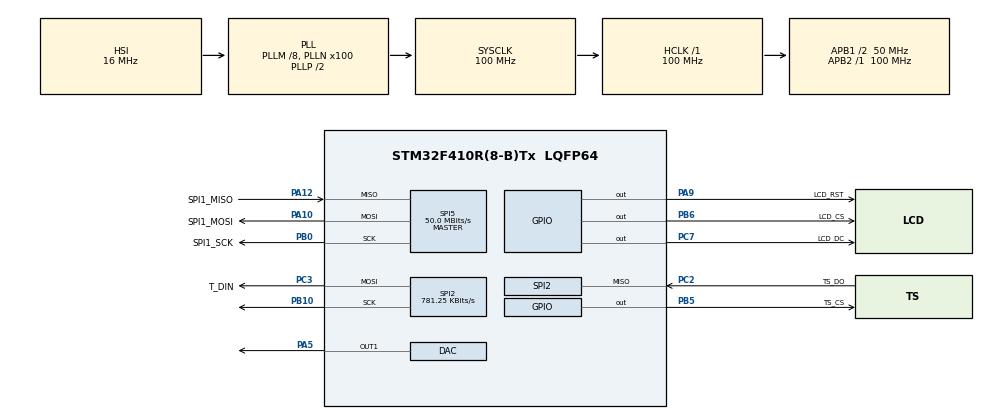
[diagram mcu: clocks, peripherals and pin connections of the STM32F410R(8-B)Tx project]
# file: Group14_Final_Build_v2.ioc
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Mcu.Family=STM32F4
Mcu.Name=STM32F410R(8-B)Tx
Mcu.Package=LQFP64
NVIC.PriorityGroup=NVIC_PRIORITYGROUP_0
PA10.GPIO_Label=SPI1_MOSI
PA10.Mode=Full_Duplex_Master
PA10.Signal=SPI5_MOSI
PA12.GPIO_Label=SPI1_MISO
PA12.Mode=Full_Duplex_Master
PA12.Signal=SPI5_MISO
PA5.Signal=COMP_DAC1_group
PA9.GPIO_Label=LCD_RST
PA9.Signal=GPIO_Output
PB0.GPIO_Label=SPI1_SCK
PB0.Mode=Full_Duplex_Master
PB0.Signal=SPI5_SCK
PB10.Mode=Full_Duplex_Master
PB10.Signal=SPI2_SCK
PB5.GPIO_Label=TS_CS
PB5.Signal=GPIO_Output
PB6.GPIO_Label=LCD_CS
PB6.Signal=GPIO_Output
PC2.GPIO_Label=TS_DO
PC2.Mode=Full_Duplex_Master
PC2.Signal=SPI2_MISO
PC3.GPIO_Label=T_DIN
PC3.Mode=Full_Duplex_Master
PC3.Signal=SPI2_MOSI
PC7.GPIO_Label=LCD_DC
PC7.Signal=GPIO_Output
ProjectManager.HeapSize=0x200
ProjectManager.StackSize=0x400
ProjectManager.TargetToolchain=STM32CubeIDE
RCC.48MHZClocksFreq_Value=50000000
RCC.AHBFreq_Value=100000000
RCC.APB1CLKDivider=RCC_HCLK_DIV2
RCC.APB1Freq_Value=50000000
RCC.APB1TimFreq_Value=100000000
RCC.APB2Freq_Value=100000000
RCC.APB2TimFreq_Value=100000000
RCC.CortexFreq_Value=100000000
RCC.FLatency-AdvancedSettings=FLASH_LATENCY_3
RCC.HCLKFreq_Value=100000000
RCC.HSE_VALUE=8000000
RCC.HSI_VALUE=16000000
RCC.LSE_VALUE=32768
RCC.PLLM=8
RCC.PLLN=100
RCC.SYSCLKFreq_VALUE=100000000
RCC.SYSCLKSource=RCC_SYSCLKSOURCE_PLLCLK
RCC.VCOOutputFreq_Value=200000000
SH.COMP_DAC1_group.0=DAC_OUT1,DAC_OUT1
SPI2.BaudRatePrescaler=SPI_BAUDRATEPRESCALER_64
SPI2.CalculateBaudRate=781.25 KBits/s
SPI2.Direction=SPI_DIRECTION_2LINES
SPI2.Mode=SPI_MODE_MASTER
SPI2.VirtualType=VM_MASTER
SPI5.CalculateBaudRate=50.0 MBits/s
SPI5.Direction=SPI_DIRECTION_2LINES
SPI5.Mode=SPI_MODE_MASTER
SPI5.VirtualType=VM_MASTER
board=NUCLEO-F410RB

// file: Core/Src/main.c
/* USER CODE BEGIN Header */
/**
  ******************************************************************************
  * @file           : main.c
  * @brief          : Main program body
  ******************************************************************************
  * @attention
  *
  * <h2><center>&copy; Copyright (c) 2020 STMicroelectronics.
  * All rights reserved.</center></h2>
  *
  * This software component is licensed by ST under BSD 3-Clause license,
  * the "License"; You may not use this file except in compliance with the
  * License. You may obtain a copy of the License at:
  *                        opensource.org/licenses/BSD-3-Clause
  *
  ******************************************************************************
  */
/* USER CODE END Header */
#include "main.h"

/* USER CODE BEGIN Includes */
#include "MY_ILI9341.h"
#include "TSC2046.h"
#include "stm32f4xx_hal.h"
#include "string.h"
#include "math.h"
#include "sawtable.h"
#include "triangletable.h"
#include "sinetable.h"
/* USER CODE END Includes */

/* USER CODE BEGIN PD */
#define radian_per_degree 0.0174532925
/* USER CODE END PD */

DAC_HandleTypeDef hdac;

SPI_HandleTypeDef hspi2;
SPI_HandleTypeDef hspi5;

/* USER CODE BEGIN PV */
uint8_t DataSelector();
uint8_t FrequencySelector();
/* USER CODE END PV */

void SystemClock_Config(void);
static void MX_GPIO_Init(void);
static void MX_SPI2_Init(void);
static void MX_SPI5_Init(void);
static void MX_DAC_Init(void);

/* USER CODE BEGIN 0 */
TS_TOUCH_DATA_Def myTS_Handle;
float SineRegion = 60;
float TriangleRegion = 120;
float RampRegion = 180;
float SquareRegion = 240;
float FrequencyDivider = 10;
float FrequencyInterval = 32;
/* USER CODE END 0 */

int main(void)
{

  /* MCU Configuration--------------------------------------------------------*/

  /* Reset of all peripherals, Initializes the Flash interface and the Systick. */
  HAL_Init();

  /* Configure the system clock */
  SystemClock_Config();

  /* Initialize all configured peripherals */
  MX_GPIO_Init();
  MX_SPI2_Init();
  MX_SPI5_Init();
  MX_DAC_Init();
  /* USER CODE BEGIN 2 */

HAL_DAC_Init(&hdac);
HAL_DAC_Start(&hdac, DAC_CHANNEL_1);

uint8_t middley = 110;
uint8_t middlex = 100;
//uint8_t Q = 0;
//FrequencyInterval = 320/FrequencyDivider;

char welcome1[] = "Hello there.";
char welcome2[] = "Let's go ahead and";
char welcome3[] = "configure the screen so ";
char welcome4[] = "it's more accurate";
char welcome5[] = "Thank you.";
char welcome6[] = "Now, let's begin...";

  char wave1[] = "sine";
  char wave2[] = "triangle";
  char wave3[] = "saw";
  char wave4[] = "square";

  ILI9341_Init(&hspi5, LCD_CS_GPIO_Port, LCD_CS_Pin, LCD_DC_GPIO_Port, LCD_DC_Pin, LCD_RST_GPIO_Port, LCD_RST_Pin);
  ILI9341_setRotation(2);
  ILI9341_Fill(COLOR_NAVY);

  TSC2046_Begin(&hspi2, TS_CS_GPIO_Port, TS_CS_Pin);
  ILI9341_Fill(COLOR_RED);
  ILI9341_printText(welcome1, middlex, middley, COLOR_WHITE, COLOR_RED, 2);
  HAL_Delay(1000);
  ILI9341_Fill(COLOR_NAVY);
  ILI9341_printText(welcome2, middlex -75, middley - 20, COLOR_WHITE, COLOR_NAVY, 2);
  ILI9341_printText(welcome3, middlex -75, middley, COLOR_WHITE, COLOR_NAVY, 2);
  ILI9341_printText(welcome4, middlex -75, middley + 20, COLOR_WHITE, COLOR_NAVY, 2);

  TSC2046_Calibrate();
  ILI9341_Fill(COLOR_BLACK);

  ILI9341_printText(welcome5, middlex, middley -10, COLOR_WHITE, COLOR_BLACK, 2);
  HAL_Delay(1000);
  ILI9341_printText(welcome6, middlex - 50, middley +10, COLOR_WHITE, COLOR_BLACK, 2);

  void mainbg() {
  ILI9341_Fill_Rect(0, 0, 320, 60, COLOR_RED);
  ILI9341_Fill_Rect(0, 60, 320, 120, COLOR_ORANGE);
  ILI9341_Fill_Rect(0, 120, 320, 180, COLOR_PURPLE);
  ILI9341_Fill_Rect(0, 180, 320, 240, COLOR_BLUE);

  ILI9341_printText(wave1, 5, 20, COLOR_WHITE, COLOR_RED, 2);
  ILI9341_printText(wave2, 5, 80, COLOR_WHITE, COLOR_ORANGE, 2);
  ILI9341_printText(wave3, 5, 140, COLOR_WHITE, COLOR_PURPLE, 2);
  ILI9341_printText(wave4, 5, 200, COLOR_WHITE, COLOR_BLUE, 2);

  };

uint32_t degree = 0;
float wave_out = 0;
uint8_t testpos = 1;
uint8_t k = 0;

mainbg();

  /* USER CODE END 2 */

  /* Infinite loop */
  /* USER CODE BEGIN WHILE */
  while (1)
  {
	  uint8_t P = DataSelector();
	  switch(P){
	  //square wave lol
	  case 4:
		  degree = 0;
		  wave_out = 0;
	  	  if (degree == testpos*360){
	  		  degree = 0;
	  	  }

	  	  for (degree = 0; degree < (testpos)*180; degree++) {
	  		  wave_out = 3700;
	  		  HAL_DAC_SetValue(&hdac, DAC_CHANNEL_1, DAC_ALIGN_12B_R, wave_out);
	  	  } for (degree = (testpos)*180; degree < (testpos)*360; degree++){
	  		  wave_out = 0;
	  		  HAL_DAC_SetValue(&hdac, DAC_CHANNEL_1, DAC_ALIGN_12B_R, wave_out);
	  	  }
	  	  break;

	  //saw wave lol
	  case 3:
		  degree = 0;
		  wave_out = 0;
		  for (degree = 0; degree <= 512; degree++){
			  wave_out = sawtable[degree];
	  		  HAL_DAC_SetValue(&hdac, DAC_CHANNEL_1, DAC_ALIGN_12B_R, wave_out);
		  }
		  if(degree == 512){
		  	  		  		degree = 0;
		  	  		  	}

	  	  break;
	  case 2:
		  degree = 0;
		  wave_out = 0;
		  for (degree = 0; degree <= 512; degree++)
		  {
			  wave_out = triangletable[degree]-1850;
	  		  HAL_DAC_SetValue(&hdac, DAC_CHANNEL_1, DAC_ALIGN_12B_R, wave_out);
		  }
		  if(degree == 512){
		  	  		  		degree = 0;
		  }
		  break;

	  case 1:
		  degree = 0;
		  wave_out = 0;
		  for (degree = 0; degree <= 512; degree++)
		  {
			  wave_out = sinetable[degree];
	  		  HAL_DAC_SetValue(&hdac, DAC_CHANNEL_1, DAC_ALIGN_12B_R, wave_out);
		  }
		  if(degree == 512){
		  	  degree = 0;
		  }
		  break;

	  //triangle wave looolllll
	  }
	  myTS_Handle = TSC2046_GetTouchData();
	  if (myTS_Handle.isPressed) {
		 // ILI9341_fillCircle(myTS_Handle.X, myTS_Handle.Y, 2, COLOR_RED);
		  }
    /* USER CODE END WHILE */
  }
}

void SystemClock_Config(void)
{
  RCC_OscInitTypeDef RCC_OscInitStruct = {0};
  RCC_ClkInitTypeDef RCC_ClkInitStruct = {0};

  /** Configure the main internal regulator output voltage
  */
  __HAL_RCC_PWR_CLK_ENABLE();
  __HAL_PWR_VOLTAGESCALING_CONFIG(PWR_REGULATOR_VOLTAGE_SCALE1);
  /** Initializes the RCC Oscillators according to the specified parameters
  * in the RCC_OscInitTypeDef structure.
  */
  RCC_OscInitStruct.OscillatorType = RCC_OSCILLATORTYPE_HSI;
  RCC_OscInitStruct.HSIState = RCC_HSI_ON;
  RCC_OscInitStruct.HSICalibrationValue = RCC_HSICALIBRATION_DEFAULT;
  RCC_OscInitStruct.PLL.PLLState = RCC_PLL_ON;
  RCC_OscInitStruct.PLL.PLLSource = RCC_PLLSOURCE_HSI;
  RCC_OscInitStruct.PLL.PLLM = 8;
  RCC_OscInitStruct.PLL.PLLN = 100;
  RCC_OscInitStruct.PLL.PLLP = RCC_PLLP_DIV2;
  RCC_OscInitStruct.PLL.PLLQ = 4;
  RCC_OscInitStruct.PLL.PLLR = 2;
  if (HAL_RCC_OscConfig(&RCC_OscInitStruct) != HAL_OK)
  {
    Error_Handler();
  }
  /** Initializes the CPU, AHB and APB buses clocks
  */
  RCC_ClkInitStruct.ClockType = RCC_CLOCKTYPE_HCLK|RCC_CLOCKTYPE_SYSCLK
                              |RCC_CLOCKTYPE_PCLK1|RCC_CLOCKTYPE_PCLK2;
  RCC_ClkInitStruct.SYSCLKSource = RCC_SYSCLKSOURCE_PLLCLK;
  RCC_ClkInitStruct.AHBCLKDivider = RCC_SYSCLK_DIV1;
  RCC_ClkInitStruct.APB1CLKDivider = RCC_HCLK_DIV2;
  RCC_ClkInitStruct.APB2CLKDivider = RCC_HCLK_DIV1;

  if (HAL_RCC_ClockConfig(&RCC_ClkInitStruct, FLASH_LATENCY_3) != HAL_OK)
  {
    Error_Handler();
  }
}

static void MX_DAC_Init(void)
{

  DAC_ChannelConfTypeDef sConfig = {0};

  /** DAC Initialization
  */
  hdac.Instance = DAC;
  if (HAL_DAC_Init(&hdac) != HAL_OK)
  {
    Error_Handler();
  }
  /** DAC channel OUT1 config
  */
  sConfig.DAC_Trigger = DAC_TRIGGER_NONE;
  sConfig.DAC_OutputBuffer = DAC_OUTPUTBUFFER_ENABLE;
  if (HAL_DAC_ConfigChannel(&hdac, &sConfig, DAC_CHANNEL_1) != HAL_OK)
  {
    Error_Handler();
  }

}

static void MX_SPI2_Init(void)
{

  /* SPI2 parameter configuration*/
  hspi2.Instance = SPI2;
  hspi2.Init.Mode = SPI_MODE_MASTER;
  hspi2.Init.Direction = SPI_DIRECTION_2LINES;
  hspi2.Init.DataSize = SPI_DATASIZE_8BIT;
  hspi2.Init.CLKPolarity = SPI_POLARITY_LOW;
  hspi2.Init.CLKPhase = SPI_PHASE_1EDGE;
  hspi2.Init.NSS = SPI_NSS_SOFT;
  hspi2.Init.BaudRatePrescaler = SPI_BAUDRATEPRESCALER_64;
  hspi2.Init.FirstBit = SPI_FIRSTBIT_MSB;
  hspi2.Init.TIMode = SPI_TIMODE_DISABLE;
  hspi2.Init.CRCCalculation = SPI_CRCCALCULATION_DISABLE;
  hspi2.Init.CRCPolynomial = 15;
  if (HAL_SPI_Init(&hspi2) != HAL_OK)
  {
    Error_Handler();
  }

}

static void MX_SPI5_Init(void)
{

  /* SPI5 parameter configuration*/
  hspi5.Instance = SPI5;
  hspi5.Init.Mode = SPI_MODE_MASTER;
  hspi5.Init.Direction = SPI_DIRECTION_2LINES;
  hspi5.Init.DataSize = SPI_DATASIZE_8BIT;
  hspi5.Init.CLKPolarity = SPI_POLARITY_LOW;
  hspi5.Init.CLKPhase = SPI_PHASE_1EDGE;
  hspi5.Init.NSS = SPI_NSS_SOFT;
  hspi5.Init.BaudRatePrescaler = SPI_BAUDRATEPRESCALER_2;
  hspi5.Init.FirstBit = SPI_FIRSTBIT_MSB;
  hspi5.Init.TIMode = SPI_TIMODE_DISABLE;
  hspi5.Init.CRCCalculation = SPI_CRCCALCULATION_DISABLE;
  hspi5.Init.CRCPolynomial = 15;
  if (HAL_SPI_Init(&hspi5) != HAL_OK)
  {
    Error_Handler();
  }

}

static void MX_GPIO_Init(void)
{
  GPIO_InitTypeDef GPIO_InitStruct = {0};

  /* GPIO Ports Clock Enable */
  __HAL_RCC_GPIOC_CLK_ENABLE();
  __HAL_RCC_GPIOA_CLK_ENABLE();
  __HAL_RCC_GPIOB_CLK_ENABLE();

  /*Configure GPIO pin Output Level */
  HAL_GPIO_WritePin(LCD_DC_GPIO_Port, LCD_DC_Pin, GPIO_PIN_RESET);

  /*Configure GPIO pin Output Level */
  HAL_GPIO_WritePin(LCD_RST_GPIO_Port, LCD_RST_Pin, GPIO_PIN_RESET);

  /*Configure GPIO pin Output Level */
  HAL_GPIO_WritePin(GPIOB, TS_CS_Pin|LCD_CS_Pin, GPIO_PIN_RESET);

  /*Configure GPIO pin : LCD_DC_Pin */
  GPIO_InitStruct.Pin = LCD_DC_Pin;
  GPIO_InitStruct.Mode = GPIO_MODE_OUTPUT_PP;
  GPIO_InitStruct.Pull = GPIO_NOPULL;
  GPIO_InitStruct.Speed = GPIO_SPEED_FREQ_LOW;
  HAL_GPIO_Init(LCD_DC_GPIO_Port, &GPIO_InitStruct);

  /*Configure GPIO pin : LCD_RST_Pin */
  GPIO_InitStruct.Pin = LCD_RST_Pin;
  GPIO_InitStruct.Mode = GPIO_MODE_OUTPUT_PP;
  GPIO_InitStruct.Pull = GPIO_NOPULL;
  GPIO_InitStruct.Speed = GPIO_SPEED_FREQ_LOW;
  HAL_GPIO_Init(LCD_RST_GPIO_Port, &GPIO_InitStruct);

  /*Configure GPIO pins : TS_CS_Pin LCD_CS_Pin */
  GPIO_InitStruct.Pin = TS_CS_Pin|LCD_CS_Pin;
  GPIO_InitStruct.Mode = GPIO_MODE_OUTPUT_PP;
  GPIO_InitStruct.Pull = GPIO_NOPULL;
  GPIO_InitStruct.Speed = GPIO_SPEED_FREQ_LOW;
  HAL_GPIO_Init(GPIOB, &GPIO_InitStruct);

}

/* USER CODE BEGIN 4 */

uint8_t DataSelector()
{
  uint8_t j = 0;
  if(myTS_Handle.Y > 0.0 && myTS_Handle.Y <= SineRegion)
  {
    j = 1;
  }
  if(myTS_Handle.Y > SineRegion && myTS_Handle.Y <= TriangleRegion)
  {
    j = 2;
  }
  if(myTS_Handle.Y > TriangleRegion && myTS_Handle.Y <= RampRegion)
  {
    j = 3;
  }
  if(myTS_Handle.Y > RampRegion && myTS_Handle.Y <= SquareRegion)
  {
    j = 4;
  }
  return j;
}
/* USER CODE END 4 */

void Error_Handler(void)
{
}

/************************ (C) COPYRIGHT STMicroelectronics *****END OF FILE****/
